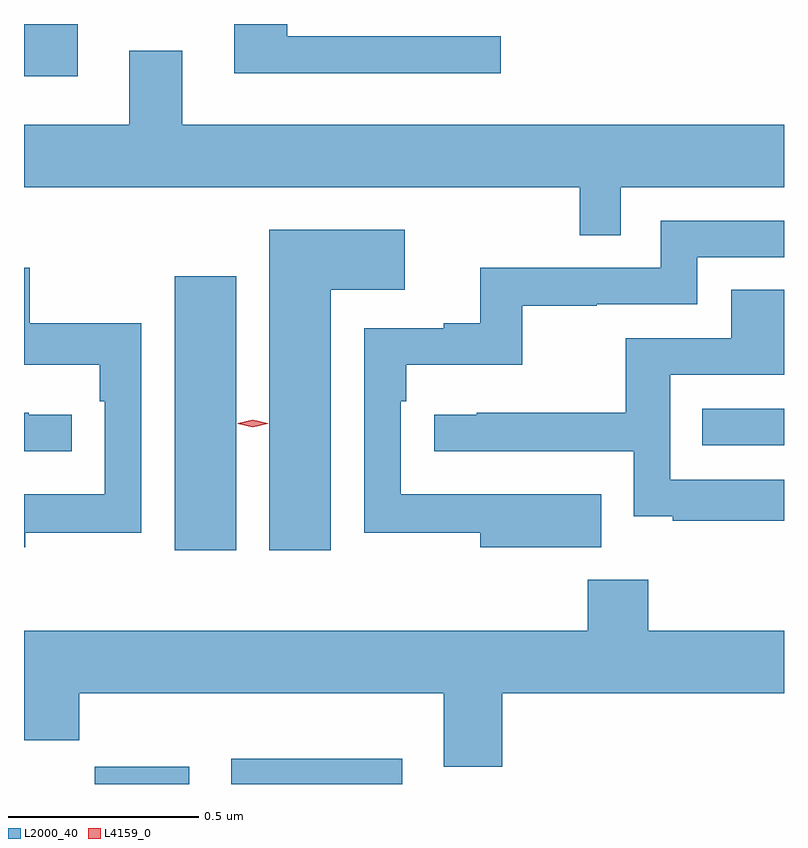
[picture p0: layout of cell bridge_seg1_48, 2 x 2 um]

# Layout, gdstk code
import gdstk
lib = gdstk.Library(unit=1e-6, precision=1e-09)
def R(c, l, rs):  # rectangles x0, y0, x1, y1
    for r in rs: c.add(gdstk.rectangle(r[:2], r[2:], *l))
def P(c, l, *ps):  # polygons
    for p in ps: c.add(gdstk.Polygon(p, *l))
L2000_40 = (2000, 40)
L4159_0 = (4159, 0)

bridge_seg1_48 = lib.new_cell('bridge_seg1_48')
R(bridge_seg1_48, L2000_40, [(976.084,523.521,976.333,523.567), (976.443,523.521,976.894,523.588), (976.295,524.136,976.456,524.857), (977.683,524.412,977.898,524.508), (975.898,525.384,976.039,525.521)])
P(bridge_seg1_48, L2000_40, [(977.152,525.489),(976.591,525.489),(976.591,525.521),(976.451,525.521),(976.451,525.392),(977.152,525.392)],
  [(977.469,525.092),(977.898,525.092),(977.898,525.256),(976.315,525.256),(976.315,525.451),(976.175,525.451),(976.175,525.256),(975.898,525.256),(975.898,525.092),(977.361,525.092),(977.361,524.965),(977.469,524.965)],
  [(977.417,524.284),(977.203,524.284),(977.203,524.283),(976.89,524.283),(976.89,524.528),(976.904,524.528),(976.904,524.624),(977.209,524.624),(977.209,524.779),(977.405,524.779),(977.405,524.784),(977.67,524.784),(977.67,524.907),(977.898,524.907),(977.898,525.003),(977.574,525.003),(977.574,524.88),(977.099,524.88),(977.099,524.734),(977.003,524.734),(977.003,524.721),(976.794,524.721),(976.794,524.182),(977.099,524.182),(977.099,524.144),(977.417,524.144)],
  [(976.705,524.822),(976.9,524.822),(976.9,524.98),(976.544,524.98),(976.544,524.136),(976.705,524.136)],
  [(975.901,524.182),(976.206,524.182),(976.206,524.734),(975.913,524.734),(975.913,524.88),(975.898,524.88),(975.898,524.624),(976.097,524.624),(976.097,524.528),(976.11,524.528),(976.11,524.283),(975.898,524.283),(975.898,524.144),(975.901,524.144)],
  [(977.898,524.322),(977.598,524.322),(977.598,524.598),(977.898,524.598),(977.898,524.822),(977.759,524.822),(977.759,524.694),(977.482,524.694),(977.482,524.498),(977.089,524.498),(977.089,524.493),(976.977,524.493),(976.977,524.397),(977.502,524.397),(977.502,524.225),(977.605,524.225),(977.605,524.214),(977.898,524.214)],
  [(976.024,524.493),(975.911,524.493),(975.911,524.498),(975.898,524.498),(975.898,524.397),(976.024,524.397)],
  [(977.156,523.76),(977.898,523.76),(977.898,523.924),(977.541,523.924),(977.541,524.059),(977.381,524.059),(977.381,523.924),(975.898,523.924),(975.898,523.636),(976.043,523.636),(976.043,523.76),(977.003,523.76),(977.003,523.566),(977.156,523.566)])
P(bridge_seg1_48, L4159_0, [(976.5,524.46),(976.46,524.469),(976.46,524.47),(976.46,524.47),(976.5,524.48),(976.54,524.47),(976.54,524.469),(976.54,524.469)])

lib.write_gds('bridge_seg1_48.gds')
